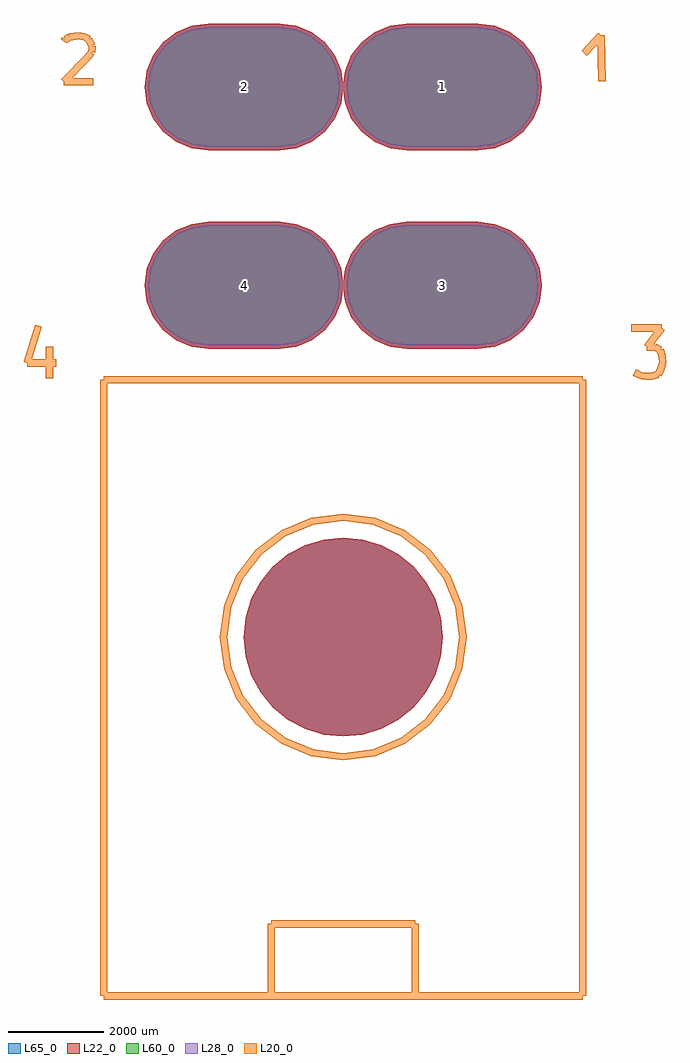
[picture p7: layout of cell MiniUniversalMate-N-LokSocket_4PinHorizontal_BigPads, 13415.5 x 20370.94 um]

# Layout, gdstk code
import gdstk
lib = gdstk.Library(unit=1e-6, precision=1e-09)
def P(c, l, *ps):  # polygons
    for p in ps: c.add(gdstk.Polygon(p, *l))
L20_0 = (20, 0)
L22_0 = (22, 0)
L28_0 = (28, 0)
L60_0 = (60, 0)
L65_0 = (65, 0)

miniuniversalmate_n_loks = lib.new_cell('MiniUniversalMate-N-LokSocket_4PinHorizontal_BigPads')
P(miniuniversalmate_n_loks, L22_0, [(2075.25,-9410.7),(2035.375,-9005.839),(1917.281,-8616.536),(1725.507,-8257.753),(1467.423,-7943.277),(1152.947,-7685.193),(794.164,-7493.419),(404.861,-7375.325),(0,-7335.45),(-404.861,-7375.325),(-794.164,-7493.419),(-1152.947,-7685.193),(-1467.423,-7943.277),(-1725.507,-8257.753),(-1917.281,-8616.536),(-2035.375,-9005.839),(-2075.25,-9410.7),(-2035.375,-9815.561),(-1917.281,-10204.864),(-1725.507,-10563.647),(-1467.423,-10878.123),(-1152.947,-11136.207),(-794.164,-11327.981),(-404.861,-11446.075),(0,-11485.95),(404.861,-11446.075),(794.164,-11327.981),(1152.947,-11136.207),(1467.423,-10878.123),(1725.507,-10563.647),(1917.281,-10204.864),(2035.375,-9815.561)],
  [(-2820.67,-3394.78),(-1319.53,-3394.78),(-976.678,-3349.643),(-657.19,-3217.307),(-382.84,-3006.79),(-172.323,-2732.44),(-39.987,-2412.952),(5.15,-2070.1),(-39.987,-1727.248),(-172.323,-1407.76),(-382.84,-1133.41),(-657.19,-922.893),(-976.678,-790.557),(-1319.53,-745.42),(-2820.67,-745.42),(-3163.522,-790.557),(-3483.01,-922.893),(-3757.36,-1133.41),(-3967.877,-1407.76),(-4100.213,-1727.248),(-4145.35,-2070.1),(-4100.213,-2412.952),(-3967.877,-2732.44),(-3757.36,-3006.79),(-3483.01,-3217.307),(-3163.522,-3349.643)],
  [(1319.53,-3394.78),(2820.67,-3394.78),(3163.522,-3349.643),(3483.01,-3217.307),(3757.36,-3006.79),(3967.877,-2732.44),(4100.213,-2412.952),(4145.35,-2070.1),(4100.213,-1727.248),(3967.877,-1407.76),(3757.36,-1133.41),(3483.01,-922.893),(3163.522,-790.557),(2820.67,-745.42),(1319.53,-745.42),(976.678,-790.557),(657.19,-922.893),(382.84,-1133.41),(172.323,-1407.76),(39.987,-1727.248),(-5.15,-2070.1),(39.987,-2412.952),(172.323,-2732.44),(382.84,-3006.79),(657.19,-3217.307),(976.678,-3349.643)],
  [(-2820.67,745.42),(-1319.53,745.42),(-976.678,790.557),(-657.19,922.893),(-382.84,1133.41),(-172.323,1407.76),(-39.987,1727.248),(5.15,2070.1),(-39.987,2412.952),(-172.323,2732.44),(-382.84,3006.79),(-657.19,3217.307),(-976.678,3349.643),(-1319.53,3394.78),(-2820.67,3394.78),(-3163.522,3349.643),(-3483.01,3217.307),(-3757.36,3006.79),(-3967.877,2732.44),(-4100.213,2412.952),(-4145.35,2070.1),(-4100.213,1727.248),(-3967.877,1407.76),(-3757.36,1133.41),(-3483.01,922.893),(-3163.522,790.557)],
  [(1319.53,745.42),(2820.67,745.42),(3163.522,790.557),(3483.01,922.893),(3757.36,1133.41),(3967.877,1407.76),(4100.213,1727.248),(4145.35,2070.1),(4100.213,2412.952),(3967.877,2732.44),(3757.36,3006.79),(3483.01,3217.307),(3163.522,3349.643),(2820.67,3394.78),(1319.53,3394.78),(976.678,3349.643),(657.19,3217.307),(382.84,3006.79),(172.323,2732.44),(39.987,2412.952),(-5.15,2070.1),(39.987,1727.248),(172.323,1407.76),(382.84,1133.41),(657.19,922.893),(976.678,790.557)])
P(miniuniversalmate_n_loks, L28_0, [(-2820.67,-3319.78),(-1319.53,-3319.78),(-996.089,-3277.198),(-694.69,-3152.355),(-435.873,-2953.757),(-237.275,-2694.94),(-112.432,-2393.541),(-69.85,-2070.1),(-112.432,-1746.659),(-237.275,-1445.26),(-435.873,-1186.443),(-694.69,-987.845),(-996.089,-863.002),(-1319.53,-820.42),(-2820.67,-820.42),(-3144.111,-863.002),(-3445.51,-987.845),(-3704.327,-1186.443),(-3902.925,-1445.26),(-4027.768,-1746.659),(-4070.35,-2070.1),(-4027.768,-2393.541),(-3902.925,-2694.94),(-3704.327,-2953.757),(-3445.51,-3152.355),(-3144.111,-3277.198)],
  [(1319.53,-3319.78),(2820.67,-3319.78),(3144.111,-3277.198),(3445.51,-3152.355),(3704.327,-2953.757),(3902.925,-2694.94),(4027.768,-2393.541),(4070.35,-2070.1),(4027.768,-1746.659),(3902.925,-1445.26),(3704.327,-1186.443),(3445.51,-987.845),(3144.111,-863.002),(2820.67,-820.42),(1319.53,-820.42),(996.089,-863.002),(694.69,-987.845),(435.873,-1186.443),(237.275,-1445.26),(112.432,-1746.659),(69.85,-2070.1),(112.432,-2393.541),(237.275,-2694.94),(435.873,-2953.757),(694.69,-3152.355),(996.089,-3277.198)],
  [(-2820.67,820.42),(-1319.53,820.42),(-996.089,863.002),(-694.69,987.845),(-435.873,1186.443),(-237.275,1445.26),(-112.432,1746.659),(-69.85,2070.1),(-112.432,2393.541),(-237.275,2694.94),(-435.873,2953.757),(-694.69,3152.355),(-996.089,3277.198),(-1319.53,3319.78),(-2820.67,3319.78),(-3144.111,3277.198),(-3445.51,3152.355),(-3704.327,2953.757),(-3902.925,2694.94),(-4027.768,2393.541),(-4070.35,2070.1),(-4027.768,1746.659),(-3902.925,1445.26),(-3704.327,1186.443),(-3445.51,987.845),(-3144.111,863.002)],
  [(1319.53,820.42),(2820.67,820.42),(3144.111,863.002),(3445.51,987.845),(3704.327,1186.443),(3902.925,1445.26),(4027.768,1746.659),(4070.35,2070.1),(4027.768,2393.541),(3902.925,2694.94),(3704.327,2953.757),(3445.51,3152.355),(3144.111,3277.198),(2820.67,3319.78),(1319.53,3319.78),(996.089,3277.198),(694.69,3152.355),(435.873,2953.757),(237.275,2694.94),(112.432,2393.541),(69.85,2070.1),(112.432,1746.659),(237.275,1445.26),(435.873,1186.443),(694.69,987.845),(996.089,863.002)])
P(miniuniversalmate_n_loks, L60_0, [(-2820.67,-3319.78),(-1319.53,-3319.78),(-996.089,-3277.198),(-694.69,-3152.355),(-435.873,-2953.757),(-237.275,-2694.94),(-112.432,-2393.541),(-69.85,-2070.1),(-112.432,-1746.659),(-237.275,-1445.26),(-435.873,-1186.443),(-694.69,-987.845),(-996.089,-863.002),(-1319.53,-820.42),(-2820.67,-820.42),(-3144.111,-863.002),(-3445.51,-987.845),(-3704.327,-1186.443),(-3902.925,-1445.26),(-4027.768,-1746.659),(-4070.35,-2070.1),(-4027.768,-2393.541),(-3902.925,-2694.94),(-3704.327,-2953.757),(-3445.51,-3152.355),(-3144.111,-3277.198)],
  [(1319.53,-3319.78),(2820.67,-3319.78),(3144.111,-3277.198),(3445.51,-3152.355),(3704.327,-2953.757),(3902.925,-2694.94),(4027.768,-2393.541),(4070.35,-2070.1),(4027.768,-1746.659),(3902.925,-1445.26),(3704.327,-1186.443),(3445.51,-987.845),(3144.111,-863.002),(2820.67,-820.42),(1319.53,-820.42),(996.089,-863.002),(694.69,-987.845),(435.873,-1186.443),(237.275,-1445.26),(112.432,-1746.659),(69.85,-2070.1),(112.432,-2393.541),(237.275,-2694.94),(435.873,-2953.757),(694.69,-3152.355),(996.089,-3277.198)],
  [(-2820.67,820.42),(-1319.53,820.42),(-996.089,863.002),(-694.69,987.845),(-435.873,1186.443),(-237.275,1445.26),(-112.432,1746.659),(-69.85,2070.1),(-112.432,2393.541),(-237.275,2694.94),(-435.873,2953.757),(-694.69,3152.355),(-996.089,3277.198),(-1319.53,3319.78),(-2820.67,3319.78),(-3144.111,3277.198),(-3445.51,3152.355),(-3704.327,2953.757),(-3902.925,2694.94),(-4027.768,2393.541),(-4070.35,2070.1),(-4027.768,1746.659),(-3902.925,1445.26),(-3704.327,1186.443),(-3445.51,987.845),(-3144.111,863.002)],
  [(1319.53,820.42),(2820.67,820.42),(3144.111,863.002),(3445.51,987.845),(3704.327,1186.443),(3902.925,1445.26),(4027.768,1746.659),(4070.35,2070.1),(4027.768,2393.541),(3902.925,2694.94),(3704.327,2953.757),(3445.51,3152.355),(3144.111,3277.198),(2820.67,3319.78),(1319.53,3319.78),(996.089,3277.198),(694.69,3152.355),(435.873,2953.757),(237.275,2694.94),(112.432,2393.541),(69.85,2070.1),(112.432,1746.659),(237.275,1445.26),(435.873,1186.443),(694.69,987.845),(996.089,863.002)])
P(miniuniversalmate_n_loks, L65_0, [(2075.25,-9410.7),(2035.375,-9005.839),(1917.281,-8616.536),(1725.507,-8257.753),(1467.423,-7943.277),(1152.947,-7685.193),(794.164,-7493.419),(404.861,-7375.325),(0,-7335.45),(-404.861,-7375.325),(-794.164,-7493.419),(-1152.947,-7685.193),(-1467.423,-7943.277),(-1725.507,-8257.753),(-1917.281,-8616.536),(-2035.375,-9005.839),(-2075.25,-9410.7),(-2035.375,-9815.561),(-1917.281,-10204.864),(-1725.507,-10563.647),(-1467.423,-10878.123),(-1152.947,-11136.207),(-794.164,-11327.981),(-404.861,-11446.075),(0,-11485.95),(404.861,-11446.075),(794.164,-11327.981),(1152.947,-11136.207),(1467.423,-10878.123),(1725.507,-10563.647),(1917.281,-10204.864),(2035.375,-9815.561)],
  [(-2820.67,-3394.78),(-1319.53,-3394.78),(-976.678,-3349.643),(-657.19,-3217.307),(-382.84,-3006.79),(-172.323,-2732.44),(-39.987,-2412.952),(5.15,-2070.1),(-39.987,-1727.248),(-172.323,-1407.76),(-382.84,-1133.41),(-657.19,-922.893),(-976.678,-790.557),(-1319.53,-745.42),(-2820.67,-745.42),(-3163.522,-790.557),(-3483.01,-922.893),(-3757.36,-1133.41),(-3967.877,-1407.76),(-4100.213,-1727.248),(-4145.35,-2070.1),(-4100.213,-2412.952),(-3967.877,-2732.44),(-3757.36,-3006.79),(-3483.01,-3217.307),(-3163.522,-3349.643)],
  [(1319.53,-3394.78),(2820.67,-3394.78),(3163.522,-3349.643),(3483.01,-3217.307),(3757.36,-3006.79),(3967.877,-2732.44),(4100.213,-2412.952),(4145.35,-2070.1),(4100.213,-1727.248),(3967.877,-1407.76),(3757.36,-1133.41),(3483.01,-922.893),(3163.522,-790.557),(2820.67,-745.42),(1319.53,-745.42),(976.678,-790.557),(657.19,-922.893),(382.84,-1133.41),(172.323,-1407.76),(39.987,-1727.248),(-5.15,-2070.1),(39.987,-2412.952),(172.323,-2732.44),(382.84,-3006.79),(657.19,-3217.307),(976.678,-3349.643)],
  [(-2820.67,745.42),(-1319.53,745.42),(-976.678,790.557),(-657.19,922.893),(-382.84,1133.41),(-172.323,1407.76),(-39.987,1727.248),(5.15,2070.1),(-39.987,2412.952),(-172.323,2732.44),(-382.84,3006.79),(-657.19,3217.307),(-976.678,3349.643),(-1319.53,3394.78),(-2820.67,3394.78),(-3163.522,3349.643),(-3483.01,3217.307),(-3757.36,3006.79),(-3967.877,2732.44),(-4100.213,2412.952),(-4145.35,2070.1),(-4100.213,1727.248),(-3967.877,1407.76),(-3757.36,1133.41),(-3483.01,922.893),(-3163.522,790.557)],
  [(1319.53,745.42),(2820.67,745.42),(3163.522,790.557),(3483.01,922.893),(3757.36,1133.41),(3967.877,1407.76),(4100.213,1727.248),(4145.35,2070.1),(4100.213,2412.952),(3967.877,2732.44),(3757.36,3006.79),(3483.01,3217.307),(3163.522,3349.643),(2820.67,3394.78),(1319.53,3394.78),(976.678,3349.643),(657.19,3217.307),(382.84,3006.79),(172.323,2732.44),(39.987,2412.952),(-5.15,2070.1),(39.987,1727.248),(172.323,1407.76),(382.84,1133.41),(657.19,922.893),(976.678,790.557)])
miniuniversalmate_n_loks.add(gdstk.FlexPath([(5379.72,3149.6),(5400.04,2189.48)], 149.998, ends="flush", simple_path=True, layer=20, datatype=0))  # L20_0
miniuniversalmate_n_loks.add(gdstk.FlexPath([(5029.2,2771.14),(5379.72,3149.6)], 149.998, ends="flush", simple_path=True, layer=20, datatype=0))  # L20_0
miniuniversalmate_n_loks.add(gdstk.FlexPath([(-5831.84,2181.86),(-5219.7,2181.86)], 149.998, ends="flush", simple_path=True, layer=20, datatype=0))  # L20_0
miniuniversalmate_n_loks.add(gdstk.FlexPath([(-5341.62,2682.24),(-5831.84,2181.86)], 149.998, ends="flush", simple_path=True, layer=20, datatype=0))  # L20_0
miniuniversalmate_n_loks.add(gdstk.FlexPath([(-5250.18,2794),(-5341.62,2682.24)], 149.998, ends="flush", simple_path=True, layer=20, datatype=0))  # L20_0
miniuniversalmate_n_loks.add(gdstk.FlexPath([(-5240.02,2923.54),(-5250.18,2794)], 149.998, ends="flush", simple_path=True, layer=20, datatype=0))  # L20_0
miniuniversalmate_n_loks.add(gdstk.FlexPath([(-5311.14,3063.24),(-5240.02,2923.54)], 149.998, ends="flush", simple_path=True, layer=20, datatype=0))  # L20_0
miniuniversalmate_n_loks.add(gdstk.FlexPath([(-5400.04,3121.66),(-5311.14,3063.24)], 149.998, ends="flush", simple_path=True, layer=20, datatype=0))  # L20_0
miniuniversalmate_n_loks.add(gdstk.FlexPath([(-5532.12,3141.98),(-5400.04,3121.66)], 149.998, ends="flush", simple_path=True, layer=20, datatype=0))  # L20_0
miniuniversalmate_n_loks.add(gdstk.FlexPath([(-5709.92,3114.04),(-5532.12,3141.98)], 149.998, ends="flush", simple_path=True, layer=20, datatype=0))  # L20_0
miniuniversalmate_n_loks.add(gdstk.FlexPath([(-5801.36,3063.24),(-5709.92,3114.04)], 149.998, ends="flush", simple_path=True, layer=20, datatype=0))  # L20_0
miniuniversalmate_n_loks.add(gdstk.FlexPath([(-5831.84,3022.6),(-5801.36,3063.24)], 149.998, ends="flush", simple_path=True, layer=20, datatype=0))  # L20_0
miniuniversalmate_n_loks.add(gdstk.FlexPath([(-6598.92,-3690.62),(-5989.32,-3690.62)], 149.998, ends="flush", simple_path=True, layer=20, datatype=0))  # L20_0
miniuniversalmate_n_loks.add(gdstk.FlexPath([(-6360.16,-2910.84),(-6598.92,-3690.62)], 149.998, ends="flush", simple_path=True, layer=20, datatype=0))  # L20_0
miniuniversalmate_n_loks.add(gdstk.FlexPath([(-6129.02,-3350.26),(-6129.02,-4010.66)], 149.998, ends="flush", simple_path=True, layer=20, datatype=0))  # L20_0
miniuniversalmate_n_loks.add(gdstk.FlexPath([(6220.46,-3957.32),(6080.76,-3888.74)], 149.998, ends="flush", simple_path=True, layer=20, datatype=0))  # L20_0
miniuniversalmate_n_loks.add(gdstk.FlexPath([(6319.52,-3967.48),(6220.46,-3957.32)], 149.998, ends="flush", simple_path=True, layer=20, datatype=0))  # L20_0
miniuniversalmate_n_loks.add(gdstk.FlexPath([(6438.9,-3967.48),(6319.52,-3967.48)], 149.998, ends="flush", simple_path=True, layer=20, datatype=0))  # L20_0
miniuniversalmate_n_loks.add(gdstk.FlexPath([(6570.98,-3929.38),(6438.9,-3967.48)], 149.998, ends="flush", simple_path=True, layer=20, datatype=0))  # L20_0
miniuniversalmate_n_loks.add(gdstk.FlexPath([(6629.4,-3817.62),(6570.98,-3929.38)], 149.998, ends="flush", simple_path=True, layer=20, datatype=0))  # L20_0
miniuniversalmate_n_loks.add(gdstk.FlexPath([(6670.04,-3698.24),(6629.4,-3817.62)], 149.998, ends="flush", simple_path=True, layer=20, datatype=0))  # L20_0
miniuniversalmate_n_loks.add(gdstk.FlexPath([(6659.88,-3548.38),(6670.04,-3698.24)], 149.998, ends="flush", simple_path=True, layer=20, datatype=0))  # L20_0
miniuniversalmate_n_loks.add(gdstk.FlexPath([(6619.24,-3418.84),(6659.88,-3548.38)], 149.998, ends="flush", simple_path=True, layer=20, datatype=0))  # L20_0
miniuniversalmate_n_loks.add(gdstk.FlexPath([(6499.86,-3357.88),(6619.24,-3418.84)], 149.998, ends="flush", simple_path=True, layer=20, datatype=0))  # L20_0
miniuniversalmate_n_loks.add(gdstk.FlexPath([(6339.84,-3357.88),(6499.86,-3357.88)], 149.998, ends="flush", simple_path=True, layer=20, datatype=0))  # L20_0
miniuniversalmate_n_loks.add(gdstk.FlexPath([(6649.72,-2959.1),(6339.84,-3357.88)], 149.998, ends="flush", simple_path=True, layer=20, datatype=0))  # L20_0
miniuniversalmate_n_loks.add(gdstk.FlexPath([(6009.64,-2959.1),(6649.72,-2959.1)], 149.998, ends="flush", simple_path=True, layer=20, datatype=0))  # L20_0
miniuniversalmate_n_loks.add(gdstk.FlexPath([(0,-16901.16),(5001.26,-16901.16)], 149.998, ends="flush", simple_path=True, layer=20, datatype=0))  # L20_0
miniuniversalmate_n_loks.add(gdstk.FlexPath([(0,-16901.16),(-5001.26,-16901.16)], 149.998, ends="flush", simple_path=True, layer=20, datatype=0))  # L20_0
miniuniversalmate_n_loks.add(gdstk.FlexPath([(5001.26,-4041.14),(5001.26,-16901.16)], 149.998, ends="flush", simple_path=True, layer=20, datatype=0))  # L20_0
miniuniversalmate_n_loks.add(gdstk.FlexPath([(-5001.26,-4041.14),(5001.26,-4041.14)], 149.998, ends="flush", simple_path=True, layer=20, datatype=0))  # L20_0
miniuniversalmate_n_loks.add(gdstk.FlexPath([(-5001.26,-16901.16),(-5001.26,-4041.14)], 149.998, ends="flush", simple_path=True, layer=20, datatype=0))  # L20_0
miniuniversalmate_n_loks.add(gdstk.FlexPath([(-1501.14,-15400.02),(-1501.14,-16901.16)], 149.998, ends="flush", simple_path=True, layer=20, datatype=0))  # L20_0
miniuniversalmate_n_loks.add(gdstk.FlexPath([(1501.14,-15400.02),(-1501.14,-15400.02)], 149.998, ends="flush", simple_path=True, layer=20, datatype=0))  # L20_0
miniuniversalmate_n_loks.add(gdstk.FlexPath([(1501.14,-16901.16),(1501.14,-15400.02)], 149.998, ends="flush", simple_path=True, layer=20, datatype=0))  # L20_0
miniuniversalmate_n_loks.add(gdstk.FlexPath([(2499.36,-9410.7),(2414.196,-8763.818),(2164.509,-8161.02),(1767.314,-7643.386),(1249.68,-7246.191),(646.882,-6996.504),(0,-6911.34),(-646.882,-6996.504),(-1249.68,-7246.191),(-1767.314,-7643.386),(-2164.509,-8161.02),(-2414.196,-8763.818),(-2499.36,-9410.7),(-2414.196,-10057.582),(-2164.509,-10660.38),(-1767.314,-11178.014),(-1249.68,-11575.209),(-646.882,-11824.896),(0,-11910.06),(646.882,-11824.896),(1249.68,-11575.209),(1767.314,-11178.014),(2164.509,-10660.38),(2414.196,-10057.582),(2499.36,-9410.7)], 149.998, ends="flush", simple_path=True, layer=20, datatype=0))  # L20_0
miniuniversalmate_n_loks.add(gdstk.Label('4', (-2070.1,-2070.1), layer=28, texttype=0))
miniuniversalmate_n_loks.add(gdstk.Label('3', (2070.1,-2070.1), layer=28, texttype=0))
miniuniversalmate_n_loks.add(gdstk.Label('2', (-2070.1,2070.1), layer=28, texttype=0))
miniuniversalmate_n_loks.add(gdstk.Label('1', (2070.1,2070.1), layer=28, texttype=0))
miniuniversalmate_n_loks.add(gdstk.Label('type', (439.42,-19730.72), layer=9, texttype=0))
miniuniversalmate_n_loks.add(gdstk.Label('devicename', (-78.74,5648.96), layer=9, texttype=0))

lib.write_gds('MiniUniversalMate-N-LokSocket_4PinHorizontal_BigPads.gds')
